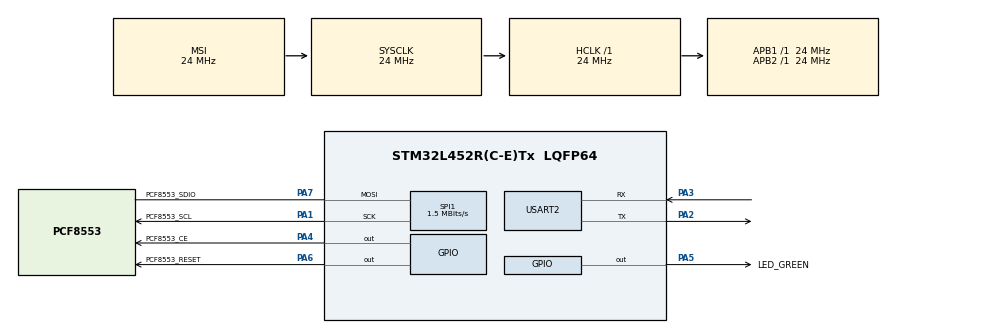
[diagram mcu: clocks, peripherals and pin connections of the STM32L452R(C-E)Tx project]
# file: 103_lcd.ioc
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ADC1.Channel-0\#ChannelRegularConversion=ADC_CHANNEL_TEMPSENSOR
ADC1.ClockPrescaler=ADC_CLOCK_ASYNC_DIV2
ADC1.NbrOfConversionFlag=1
ADC1.OffsetNumber-0\#ChannelRegularConversion=ADC_OFFSET_NONE
ADC1.Rank-0\#ChannelRegularConversion=1
ADC1.SamplingTime-0\#ChannelRegularConversion=ADC_SAMPLETIME_24CYCLES_5
ADC1.master=1
FREERTOS.Tasks01=MenuTask,24,256,menu_task,Default,NULL,Dynamic,NULL,NULL
FREERTOS.configUSE_NEWLIB_REENTRANT=1
FREERTOS.configUSE_TICKLESS_IDLE=1
Mcu.Family=STM32L4
Mcu.Name=STM32L452R(C-E)Tx
Mcu.Package=LQFP64
NVIC.PriorityGroup=NVIC_PRIORITYGROUP_4
NVIC.RTC_WKUP_IRQn=true\:5\:0\:false\:false\:true\:true\:true\:true\:true
NVIC.TIM6_DAC_IRQn=true\:15\:0\:false\:false\:true\:false\:false\:true\:true
NVIC.TimeBase=TIM6_DAC_IRQn
NVIC.TimeBaseIP=TIM6
PA1.GPIO_Label=PCF8553_SCL
PA1.GPIO_Mode=GPIO_MODE_AF_PP
PA1.GPIO_PuPd=GPIO_NOPULL
PA1.GPIO_Speed=GPIO_SPEED_FREQ_VERY_HIGH
PA1.Mode=Simplex_Bidirectional_Master
PA1.Signal=SPI1_SCK
PA13\ (JTMS/SWDIO).Mode=Trace_Asynchronous_SW
PA13\ (JTMS/SWDIO).Signal=SYS_JTMS-SWDIO
PA14\ (JTCK/SWCLK).Mode=Trace_Asynchronous_SW
PA14\ (JTCK/SWCLK).Signal=SYS_JTCK-SWCLK
PA2.Mode=Asynchronous
PA2.Signal=USART2_TX
PA3.Mode=Asynchronous
PA3.Signal=USART2_RX
PA4.GPIO_Label=PCF8553_CE
PA4.Signal=GPIO_Output
PA5.GPIO_Label=LED_GREEN
PA5.Signal=GPIO_Output
PA6.GPIO_Label=PCF8553_RESET
PA6.Signal=GPIO_Output
PA7.GPIO_Label=PCF8553_SDIO
PA7.GPIO_Mode=GPIO_MODE_AF_PP
PA7.GPIO_PuPd=GPIO_NOPULL
PA7.GPIO_Speed=GPIO_SPEED_FREQ_VERY_HIGH
PA7.Mode=Simplex_Bidirectional_Master
PA7.Signal=SPI1_MOSI
PB3\ (JTDO/TRACESWO).Mode=Trace_Asynchronous_SW
PB3\ (JTDO/TRACESWO).Signal=SYS_JTDO-SWO
PC14-OSC32_IN\ (PC14).Mode=LSE-External-Oscillator
PC14-OSC32_IN\ (PC14).Signal=RCC_OSC32_IN
PC15-OSC32_OUT\ (PC15).Mode=LSE-External-Oscillator
PC15-OSC32_OUT\ (PC15).Signal=RCC_OSC32_OUT
ProjectManager.HeapSize=0x200
ProjectManager.StackSize=0x400
ProjectManager.TargetToolchain=STM32CubeIDE
RCC.ADCCLockSelection=RCC_ADCCLKSOURCE_SYSCLK
RCC.ADCFreq_Value=24000000
RCC.AHBFreq_Value=24000000
RCC.APB1Freq_Value=24000000
RCC.APB1TimFreq_Value=24000000
RCC.APB2Freq_Value=24000000
RCC.APB2TimFreq_Value=24000000
RCC.CortexFreq_Value=24000000
RCC.HCLKFreq_Value=24000000
RCC.HSE_VALUE=8000000
RCC.HSI48_VALUE=48000000
RCC.HSI_VALUE=16000000
RCC.MSIClockRange=RCC_MSIRANGE_9
RCC.MSI_VALUE=24000000
RCC.PWR_Regulator_Voltage_Scale=PWR_REGULATOR_VOLTAGE_SCALE2
RCC.RTCClockSelection=RCC_RTCCLKSOURCE_LSE
RCC.SYSCLKFreq_VALUE=24000000
RCC.USBFreq_Value=96000000
RCC.VCOOutputFreq_Value=192000000
RTC.WakeUpClock-WakeUp=RTC_WAKEUPCLOCK_RTCCLK_DIV16
RTC.WakeUpCounter-WakeUp=2048
SPI1.BaudRatePrescaler=SPI_BAUDRATEPRESCALER_16
SPI1.CalculateBaudRate=1.5 MBits/s
SPI1.DataSize=SPI_DATASIZE_8BIT
SPI1.Direction=SPI_DIRECTION_1LINE
SPI1.Mode=SPI_MODE_MASTER
SPI1.NSSPMode=SPI_NSS_PULSE_DISABLE
SPI1.VirtualType=VM_MASTER
TIM16.Prescaler=24-1
USART2.VirtualMode-Asynchronous=VM_ASYNC
VP_ADC1_TempSens_Input.Mode=IN-TempSens
VP_ADC1_Vref_Input.Mode=IN-Vrefint
VP_FREERTOS_VS_CMSIS_V2.Mode=CMSIS_V2
VP_RTC_VS_RTC_Activate.Mode=RTC_Enabled
VP_RTC_VS_RTC_WakeUp_intern.Mode=WakeUp
VP_SYS_VS_tim6.Mode=TIM6
VP_TIM16_VS_ClockSourceINT.Mode=Enable_Timer
board=custom

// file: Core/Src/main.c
/* USER CODE BEGIN Header */
/*
 * Este proyecto es para hacer pruebas con el modulo lcd y FreeRTOS tickless
 * en stop mode 2, en stop mode 2 LPTIM no funciona en este micro)se  usa el RTC
 * como fuente de interrupcion de wakeup.
 *
 * Se usa el leed verde, nativo de Nucleo 64, para controlar visaulmete el
 * tiempo que se encuentra en stop mode, destella rapidamente.
 *
 * Modificaciones que hay que hacer para que funcione:
 *
 * - En freeRTOSConfig.h, la macro configPRE_SLEEP_PROCESSING hay que eliminar
 * la sentencia x = 0, notar que este cambio no es persistente al ejecutar
 * CubeMX  Generate Code. Se debe volver a eliminar esta linea si se ejecuta
 * CubeMX.
 * - En port.c hay que comentar la instruccion:
 * //portNVIC_SYSTICK_CTRL_REG |= portNVIC_SYSTICK_ENABLE_BIT;
 * Al igual que antes este cambio no es persistente si se hace Generate Code
 * - En el MX para el RTC -> Wakeup -> Internal Wakeup luego en NVIC hay que
 * seleccionar RTC wake-up Interrupt throught EXT1 line 20, esto habilita
 * la interrupcion, debo investigar mejor como funciona.
 *
 * - Demas codigo en freertos.c, si es presevado luego de un Code Generator:
 * extern RTC_HandleTypeDef hrtc;
 * Codigo en pre y post sleep processing, calcular el tiempo en ms que el micro
 * debe dormir, preparar al RTC para que despierte al sistema, detener ticks
 * ir a dormir, reanudar ticks....
 *
 * Esta solucion tiene como ventaja que se deja libre el LPTIM 1, ademas que
 * se puede usar el LPTIM 2 de cambiar stop 2 por stop 1.
 * La solucion de usar LPTIM 1 como fuente de systick, en lugar de TIM6, es
 * superior, no tiene drift, el problema es que solo nos dejaría con LPTIM 2
 * en stop mode 1, stop mode 2 no representa un gran ahorro.
 * Las versiones de FreeRTOS tickless no tienen implementación oficial, esta
 * solucion que si es parte de una solucion oficial tiene bugs, el del macro
 * que hace tiempo esperado igual a 0.
 * Aca encontre otro bug, en port.c se usa la macro:
 * #if( configUSE_TICKLESS_IDLE == 1 )
 * Que en nuestro caso es true, con lo cual el codigo que se sigue debe estar
 * incluido y no sombreado, aunque esta incluido el codigo aparece sombreado.
 * Este error se produce al importar el ioc, o al menos en esta condicion.
 * No probe con habilitar el tickless mode en un etapa abanzada de un proyecto.
 *
 * La lectura de corriente con el reloj corriendo a 1 segundo es de 13uA
 *
 * Cuidado, al tener que modificar port.c aplica lo del proyecto 102_lcd
 *
 */
/* USER CODE END Header */
#include "main.h"
#include "cmsis_os.h"

/* USER CODE BEGIN Includes */
#include "../../../libs/fm_lcd/fm_lcd.h"
#include "../../../libs/fm_computer/fm_computer.h"
#include "../../../libs/fm_factory/fm_factory.h"

/* USER CODE END Includes */

ADC_HandleTypeDef hadc1;

RTC_HandleTypeDef hrtc;

SPI_HandleTypeDef hspi1;

TIM_HandleTypeDef htim16;

UART_HandleTypeDef huart2;

/* Definitions for MenuTask */
osThreadId_t MenuTaskHandle;
const osThreadAttr_t MenuTask_attributes = {
  .name = "MenuTask",
  .stack_size = 256 * 4,
  .priority = (osPriority_t) osPriorityNormal,
};
/* USER CODE BEGIN PV */
uint8_t test = 2;
/* USER CODE END PV */

void SystemClock_Config(void);
static void MX_GPIO_Init(void);
static void MX_SPI1_Init(void);
static void MX_RTC_Init(void);
static void MX_TIM16_Init(void);
static void MX_USART2_UART_Init(void);
static void MX_ADC1_Init(void);
void menu_task(void *argument);

int main(void)
{

  /* MCU Configuration--------------------------------------------------------*/

  /* Reset of all peripherals, Initializes the Flash interface and the Systick. */
  HAL_Init();

  /* Configure the system clock */
  SystemClock_Config();

  /* Initialize all configured peripherals */
  MX_GPIO_Init();
  MX_SPI1_Init();
  MX_RTC_Init();
  MX_TIM16_Init();
  MX_USART2_UART_Init();
  MX_ADC1_Init();
  /* USER CODE BEGIN 2 */
  fm_lcd_clear();
  fm_lcd_init();
  fm_lcd_refresh();
  /* USER CODE END 2 */

  /* Init scheduler */
  osKernelInitialize();

  /* Create the thread(s) */
  /* creation of MenuTask */
  MenuTaskHandle = osThreadNew(menu_task, NULL, &MenuTask_attributes);

  /* Start scheduler */
  osKernelStart();
  /* We should never get here as control is now taken by the scheduler */
  /* Infinite loop */
  while (1)
  {

  }
}

void SystemClock_Config(void)
{
  RCC_OscInitTypeDef RCC_OscInitStruct = {0};
  RCC_ClkInitTypeDef RCC_ClkInitStruct = {0};

  /** Configure the main internal regulator output voltage
  */
  if (HAL_PWREx_ControlVoltageScaling(PWR_REGULATOR_VOLTAGE_SCALE2) != HAL_OK)
  {
    Error_Handler();
  }

  /** Configure LSE Drive Capability
  */
  HAL_PWR_EnableBkUpAccess();
  __HAL_RCC_LSEDRIVE_CONFIG(RCC_LSEDRIVE_LOW);

  /** Initializes the RCC Oscillators according to the specified parameters
  * in the RCC_OscInitTypeDef structure.
  */
  RCC_OscInitStruct.OscillatorType = RCC_OSCILLATORTYPE_LSE|RCC_OSCILLATORTYPE_MSI;
  RCC_OscInitStruct.LSEState = RCC_LSE_ON;
  RCC_OscInitStruct.MSIState = RCC_MSI_ON;
  RCC_OscInitStruct.MSICalibrationValue = 0;
  RCC_OscInitStruct.MSIClockRange = RCC_MSIRANGE_9;
  RCC_OscInitStruct.PLL.PLLState = RCC_PLL_NONE;
  if (HAL_RCC_OscConfig(&RCC_OscInitStruct) != HAL_OK)
  {
    Error_Handler();
  }

  /** Initializes the CPU, AHB and APB buses clocks
  */
  RCC_ClkInitStruct.ClockType = RCC_CLOCKTYPE_HCLK|RCC_CLOCKTYPE_SYSCLK
                              |RCC_CLOCKTYPE_PCLK1|RCC_CLOCKTYPE_PCLK2;
  RCC_ClkInitStruct.SYSCLKSource = RCC_SYSCLKSOURCE_MSI;
  RCC_ClkInitStruct.AHBCLKDivider = RCC_SYSCLK_DIV1;
  RCC_ClkInitStruct.APB1CLKDivider = RCC_HCLK_DIV1;
  RCC_ClkInitStruct.APB2CLKDivider = RCC_HCLK_DIV1;

  if (HAL_RCC_ClockConfig(&RCC_ClkInitStruct, FLASH_LATENCY_4) != HAL_OK)
  {
    Error_Handler();
  }

  /** Enable MSI Auto calibration
  */
  HAL_RCCEx_EnableMSIPLLMode();
}

static void MX_ADC1_Init(void)
{

  ADC_ChannelConfTypeDef sConfig = {0};

  /** Common config
  */
  hadc1.Instance = ADC1;
  hadc1.Init.ClockPrescaler = ADC_CLOCK_ASYNC_DIV2;
  hadc1.Init.Resolution = ADC_RESOLUTION_12B;
  hadc1.Init.DataAlign = ADC_DATAALIGN_RIGHT;
  hadc1.Init.ScanConvMode = ADC_SCAN_DISABLE;
  hadc1.Init.EOCSelection = ADC_EOC_SINGLE_CONV;
  hadc1.Init.LowPowerAutoWait = DISABLE;
  hadc1.Init.ContinuousConvMode = DISABLE;
  hadc1.Init.NbrOfConversion = 1;
  hadc1.Init.DiscontinuousConvMode = DISABLE;
  hadc1.Init.ExternalTrigConv = ADC_SOFTWARE_START;
  hadc1.Init.ExternalTrigConvEdge = ADC_EXTERNALTRIGCONVEDGE_NONE;
  hadc1.Init.DMAContinuousRequests = DISABLE;
  hadc1.Init.Overrun = ADC_OVR_DATA_PRESERVED;
  hadc1.Init.OversamplingMode = DISABLE;
  hadc1.Init.DFSDMConfig = ADC_DFSDM_MODE_ENABLE;
  if (HAL_ADC_Init(&hadc1) != HAL_OK)
  {
    Error_Handler();
  }

  /** Configure Regular Channel
  */
  sConfig.Channel = ADC_CHANNEL_TEMPSENSOR;
  sConfig.Rank = ADC_REGULAR_RANK_1;
  sConfig.SamplingTime = ADC_SAMPLETIME_24CYCLES_5;
  sConfig.SingleDiff = ADC_SINGLE_ENDED;
  sConfig.OffsetNumber = ADC_OFFSET_NONE;
  sConfig.Offset = 0;
  if (HAL_ADC_ConfigChannel(&hadc1, &sConfig) != HAL_OK)
  {
    Error_Handler();
  }

}

static void MX_RTC_Init(void)
{

  /** Initialize RTC Only
  */
  hrtc.Instance = RTC;
  hrtc.Init.HourFormat = RTC_HOURFORMAT_24;
  hrtc.Init.AsynchPrediv = 127;
  hrtc.Init.SynchPrediv = 255;
  hrtc.Init.OutPut = RTC_OUTPUT_DISABLE;
  hrtc.Init.OutPutRemap = RTC_OUTPUT_REMAP_NONE;
  hrtc.Init.OutPutPolarity = RTC_OUTPUT_POLARITY_HIGH;
  hrtc.Init.OutPutType = RTC_OUTPUT_TYPE_OPENDRAIN;
  if (HAL_RTC_Init(&hrtc) != HAL_OK)
  {
    Error_Handler();
  }

  /** Enable the WakeUp
  */
  if (HAL_RTCEx_SetWakeUpTimer_IT(&hrtc, 2048, RTC_WAKEUPCLOCK_RTCCLK_DIV16) != HAL_OK)
  {
    Error_Handler();
  }

}

static void MX_SPI1_Init(void)
{

  /* SPI1 parameter configuration*/
  hspi1.Instance = SPI1;
  hspi1.Init.Mode = SPI_MODE_MASTER;
  hspi1.Init.Direction = SPI_DIRECTION_1LINE;
  hspi1.Init.DataSize = SPI_DATASIZE_8BIT;
  hspi1.Init.CLKPolarity = SPI_POLARITY_LOW;
  hspi1.Init.CLKPhase = SPI_PHASE_1EDGE;
  hspi1.Init.NSS = SPI_NSS_SOFT;
  hspi1.Init.BaudRatePrescaler = SPI_BAUDRATEPRESCALER_16;
  hspi1.Init.FirstBit = SPI_FIRSTBIT_MSB;
  hspi1.Init.TIMode = SPI_TIMODE_DISABLE;
  hspi1.Init.CRCCalculation = SPI_CRCCALCULATION_DISABLE;
  hspi1.Init.CRCPolynomial = 7;
  hspi1.Init.CRCLength = SPI_CRC_LENGTH_DATASIZE;
  hspi1.Init.NSSPMode = SPI_NSS_PULSE_DISABLE;
  if (HAL_SPI_Init(&hspi1) != HAL_OK)
  {
    Error_Handler();
  }

}

static void MX_TIM16_Init(void)
{

  htim16.Instance = TIM16;
  htim16.Init.Prescaler = 24-1;
  htim16.Init.CounterMode = TIM_COUNTERMODE_UP;
  htim16.Init.Period = 65535;
  htim16.Init.ClockDivision = TIM_CLOCKDIVISION_DIV1;
  htim16.Init.RepetitionCounter = 0;
  htim16.Init.AutoReloadPreload = TIM_AUTORELOAD_PRELOAD_DISABLE;
  if (HAL_TIM_Base_Init(&htim16) != HAL_OK)
  {
    Error_Handler();
  }

}

static void MX_USART2_UART_Init(void)
{

  huart2.Instance = USART2;
  huart2.Init.BaudRate = 115200;
  huart2.Init.WordLength = UART_WORDLENGTH_8B;
  huart2.Init.StopBits = UART_STOPBITS_1;
  huart2.Init.Parity = UART_PARITY_NONE;
  huart2.Init.Mode = UART_MODE_TX_RX;
  huart2.Init.HwFlowCtl = UART_HWCONTROL_NONE;
  huart2.Init.OverSampling = UART_OVERSAMPLING_16;
  huart2.Init.OneBitSampling = UART_ONE_BIT_SAMPLE_DISABLE;
  huart2.AdvancedInit.AdvFeatureInit = UART_ADVFEATURE_NO_INIT;
  if (HAL_UART_Init(&huart2) != HAL_OK)
  {
    Error_Handler();
  }

}

static void MX_GPIO_Init(void)
{
  GPIO_InitTypeDef GPIO_InitStruct = {0};

  /* GPIO Ports Clock Enable */
  __HAL_RCC_GPIOC_CLK_ENABLE();
  __HAL_RCC_GPIOA_CLK_ENABLE();
  __HAL_RCC_GPIOB_CLK_ENABLE();

  /*Configure GPIO pin Output Level */
  HAL_GPIO_WritePin(GPIOA, PCF8553_CE_Pin|LED_GREEN_Pin|PCF8553_RESET_Pin, GPIO_PIN_RESET);

  /*Configure GPIO pins : PCF8553_CE_Pin LED_GREEN_Pin PCF8553_RESET_Pin */
  GPIO_InitStruct.Pin = PCF8553_CE_Pin|LED_GREEN_Pin|PCF8553_RESET_Pin;
  GPIO_InitStruct.Mode = GPIO_MODE_OUTPUT_PP;
  GPIO_InitStruct.Pull = GPIO_NOPULL;
  GPIO_InitStruct.Speed = GPIO_SPEED_FREQ_LOW;
  HAL_GPIO_Init(GPIOA, &GPIO_InitStruct);

}

void menu_task(void *argument)
{
  /* USER CODE BEGIN 5 */
       uint8_t counter = 0;
       char msg[10]; // @suppress("Avoid magic numbers")
       char buffer[PCF8553_DATA_SIZE];

       /*
        * Inicializo una variable de la estructura fmc_totalizer_t para trabajar
        * con el parametro acm.
        */
       fmc_totalizer_t acm;

       /*
        * Cargo en acm los valores de la configuración inicial de acm.
        */
       acm = fm_factory_get_acm();

       /*
        * Obtengo el valor del volumen acm al multiplicarlo por las resoluciones
        * del factor y del propio volumen, y luego dividirlo por el propio
        * factor.
        */
       acm = fmc_totalizer_init(acm);

       /* Infinite loop */
       for (;;)
       {
           switch(test)
           {
               case 1:
                   snprintf(msg, sizeof(msg), "%08u", counter);
                   fm_lcd_puts(msg, 0);
                   fm_lcd_refresh();
                   counter++;
                   osDelay(1000); // @suppress("Avoid magic numbers")
               break;
               case 2:
                   fm_lcd_fp_to_str(acm.volume, ' ', LINE_0_DIGITS, buffer,
                   sizeof(buffer));
                   fm_lcd_fp_add_dot(acm.volume, buffer, sizeof(buffer));
                   fm_lcd_puts(buffer, 0);
                   fm_lcd_refresh();
                   osDelay(1000); // @suppress("Avoid magic numbers")
               break;
               default:
               break;
           }

       }
  /* USER CODE END 5 */
}

void HAL_TIM_PeriodElapsedCallback(TIM_HandleTypeDef *htim)
{
  if (htim->Instance == TIM6) {
    HAL_IncTick();
  }
}

void Error_Handler(void)
{
  __disable_irq();
  while (1)
  {
  }
}

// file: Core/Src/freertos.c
/* USER CODE BEGIN Header */
/**
 ******************************************************************************
 * File Name          : freertos.c
 * Description        : Code for freertos applications
 ******************************************************************************
 * @attention
 *
 * Copyright (c) 2023 STMicroelectronics.
 * All rights reserved.
 *
 * This software is licensed under terms that can be found in the LICENSE file
 * in the root directory of this software component.
 * If no LICENSE file comes with this software, it is provided AS-IS.
 *
 ******************************************************************************
 */
/* USER CODE END Header */

#include "FreeRTOS.h"
#include "task.h"
#include "main.h"

/* USER CODE BEGIN Variables */
extern RTC_HandleTypeDef hrtc;

/* USER CODE END Variables */

/* USER CODE BEGIN PREPOSTSLEEP */
__weak void PreSleepProcessing(uint32_t ulExpectedIdleTime)
{
    /* place for user code */
    uint32_t delay_ms = ulExpectedIdleTime * 2048ul;

    delay_ms /= 1000;

    HAL_RTCEx_SetWakeUpTimer_IT(&hrtc, delay_ms, RTC_WAKEUPCLOCK_RTCCLK_DIV16);
    HAL_SuspendTick();

    __DSB();
    HAL_PWREx_EnterSTOP2Mode(PWR_STOPENTRY_WFI);
    __ISB();
    ulExpectedIdleTime = 0;

}

__weak void PostSleepProcessing(uint32_t ulExpectedIdleTime)
{
    /* place for user code */
    HAL_RTCEx_DeactivateWakeUpTimer(&hrtc);
    HAL_ResumeTick();
}
/* USER CODE END PREPOSTSLEEP */
